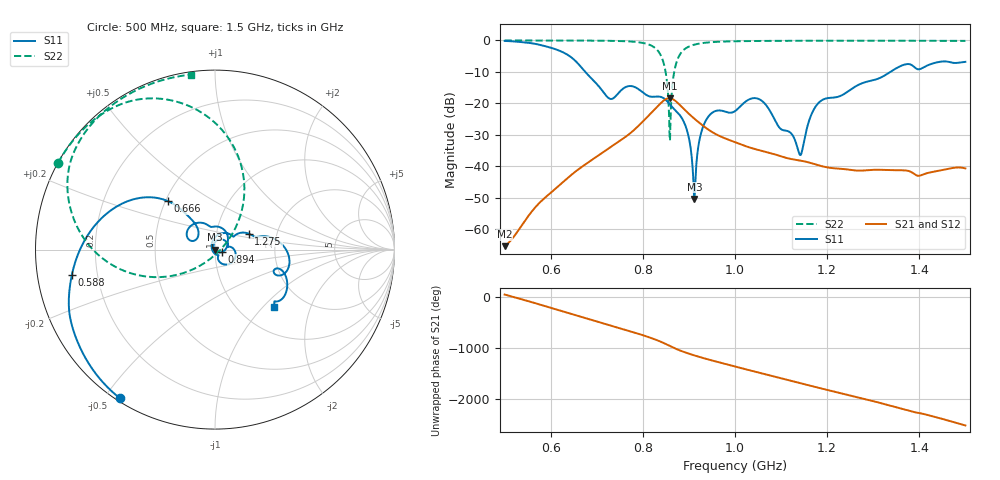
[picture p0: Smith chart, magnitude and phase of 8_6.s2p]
! TOUCHSTONE file generated by CST MICROWAVE STUDIO
! Date and time: Fri Oct  2 18:55:38 2020
! Project name: Scenario_1_Free_Space_out_of_line.cst
! Parameters = {Lambda=346.42; Step_1=17.321; dy1=226.253; dx1=1039; L_HA=400; MT=2.54; Rad_Dielectric=30; Rad_Lower=7.3; Rad_Upper=30; a_HA=580; a_WG=246; b_HA=500; b_WG=121; c_HA=0; c_WG=187; d_feed=85; h_feed=15; h_lower=18; h_upper=40}
! Header version: 2018
! Port assignment regex: !\s*Touchstone port\s*([0-9]+)\s*=\s*(CST MWS port|CST DS port)\s*([0-9]+|Zmin|Zmax)\s*\(\"(.*)\"\)(\s*mode\s*([0-9]+))?.*
! Touchstone port assignment:
! Touchstone port 1 = CST MWS port 1 ("")
! Touchstone port 2 = CST MWS port 2 ("")
# GHz S DB R 50
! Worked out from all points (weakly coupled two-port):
!   1003 points, 500 MHz to 1.5 GHz, reference 50 ohm
!   highest |S21| = -18.33 dB at 858 MHz (marker M1); lowest = -65.3 dB at 500 MHz (marker M2)
!   lowest |S11| = -50.3 dB at 912 MHz (marker M3), VSWR 1.01, Z = 49.7 - j0.125 ohm
!   |S11| at or under -10 dB: 675.2 MHz to 1.337 GHz (661.7 MHz wide, 65.8 % of centre)
!   |S22| runs from -31.7 to 0.0 dB; largest |S21 - S12| = 7.8e-05
!   S11 on the Smith chart (normalised r, x): 500 MHz: 0.01, -0.55; 588 MHz: 0.11, -0.09; 666 MHz: 0.51, +0.32; 894 MHz: 1.08, -0.03; 1.275 GHz: 1.44, +0.27; 1.5 GHz: 1.42, -1.15
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0.5  -0.15 -122.5  -65.30 39.9  -65.30 39.9  -0.01 151.1
0.588  -1.82 -169.8  -49.87 172.7  -49.87 172.7  -0.02 145.0
0.635  -4.41 156.8  -43.90 48.6  -43.90 48.6  -0.03 141.2
0.666  -8.45 134.3  -40.29 -35.9  -40.29 -35.9  -0.04 138.4
0.667  -8.62 133.8  -40.19 -38.6  -40.18 -38.6  -0.04 138.3
0.728  -18.49 142.8  -34.01 158.8  -34.01 158.7  -0.12 131.0
0.772  -14.46 139.1  -29.53 41.1  -29.53 41.1  -0.32 122.5
0.834  -17.80 83.2  -20.61 -146.8  -20.61 -146.8  -3.53 86.5
0.847  -18.53 61.2  -18.90 162.4  -18.90 162.4  -8.25 65.0
0.858  -20.16 42.8  -18.33 114.7  -18.33 114.7  -30.22 0.5
0.873  -22.52 21.8  -19.47 51.6  -19.47 51.6  -6.96 -161.4
0.894  -27.71 -19.5  -22.47 -20.9  -22.47 -20.9  -2.41 172.8
0.912  -50.33 -155.7  -24.86 -74.0  -24.86 -74.0  -1.33 161.7
0.924  -30.80 105.0  -26.32 -106.7  -26.32 -106.7  -0.96 156.7
0.939  -24.84 71.8  -27.98 -145.3  -27.98 -145.3  -0.67 151.9
1  -22.43 12.2  -32.29 69.1  -32.29 69.1  -0.27 140.3
1.056  -18.94 -45.1  -34.96 -61.1  -34.96 -61.1  -0.16 133.8
1.141  -36.33 -147.3  -38.11 104.3  -38.11 104.3  -0.10 126.3
1.167  -23.10 88.5  -39.01 43.8  -39.00 43.8  -0.10 124.2
1.275  -13.63 25.2  -41.31 166.9  -41.31 166.9  -0.08 115.9
1.334  -10.27 13.6  -41.17 29.5  -41.17 29.5  -0.09 111.5
1.5  -6.80 -44.4  -40.61 -6.8  -40.62 -6.8  -0.14 97.9
